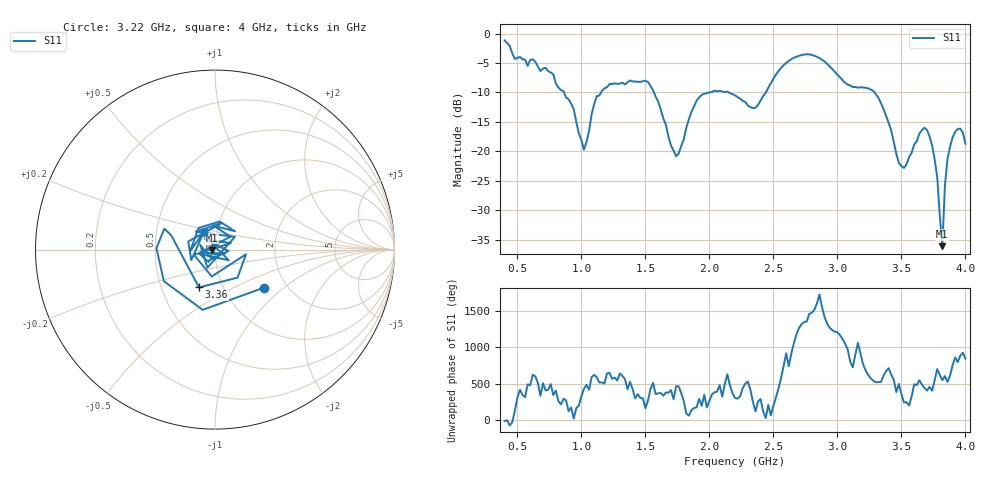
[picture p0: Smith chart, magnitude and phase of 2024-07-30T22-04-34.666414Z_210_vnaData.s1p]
!Created with skrf (http://scikit-rf.org).
# Hz S RI R 50.0
!freq ReS11 ImS11
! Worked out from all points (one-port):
!   181 points, 400 MHz to 4 GHz, reference 50 ohm
!   lowest |S11| = -36.1 dB at 3.82 GHz (marker M1), VSWR 1.03, Z = 48.5 - j0.151 ohm
!   |S11| at or under -10 dB: 1.567 GHz to 1.999 GHz (432.2 MHz wide, 24.2 % of centre); 2.152 GHz to 2.441 GHz (289.3 MHz wide, 12.6 % of centre); 3.289 GHz to end of sweep (the widest 3 of 4)
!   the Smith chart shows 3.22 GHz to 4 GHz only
!   S11 on the Smith chart (normalised r, x): 3.22 GHz: 1.54, -0.74; 3.36 GHz: 0.77, -0.34; 4 GHz: 0.87, +0.17
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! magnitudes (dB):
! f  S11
! 400 MHz  -1.2
! 480 MHz  -4.3
! 860 MHz  -9.8
! 940 MHz  -12.9
! 1.02 GHz  -19.7
! 1.12 GHz  -10.6
! 1.3 GHz  -8.5
! 1.52 GHz  -8.2
! 1.7 GHz  -19.0
! 1.76 GHz  -20.4
! 1.92 GHz  -10.8
! 2.2 GHz  -10.5
! 2.36 GHz  -12.6
! 2.66 GHz  -4.1
! 2.84 GHz  -3.9
! 3.1 GHz  -8.8
! 3.22 GHz  -9.2
! 3.36 GHz  -12.8
! 3.48 GHz  -22.0
! 3.56 GHz  -21.0
! 3.66 GHz  -16.4
! 3.72 GHz  -17.5
! 3.78 GHz  -24.4
! 3.82 GHz  -36.1
! 3.84 GHz  -25.8
! 3.88 GHz  -19.2
! 3.94 GHz  -16.2
! 4 GHz  -18.7
